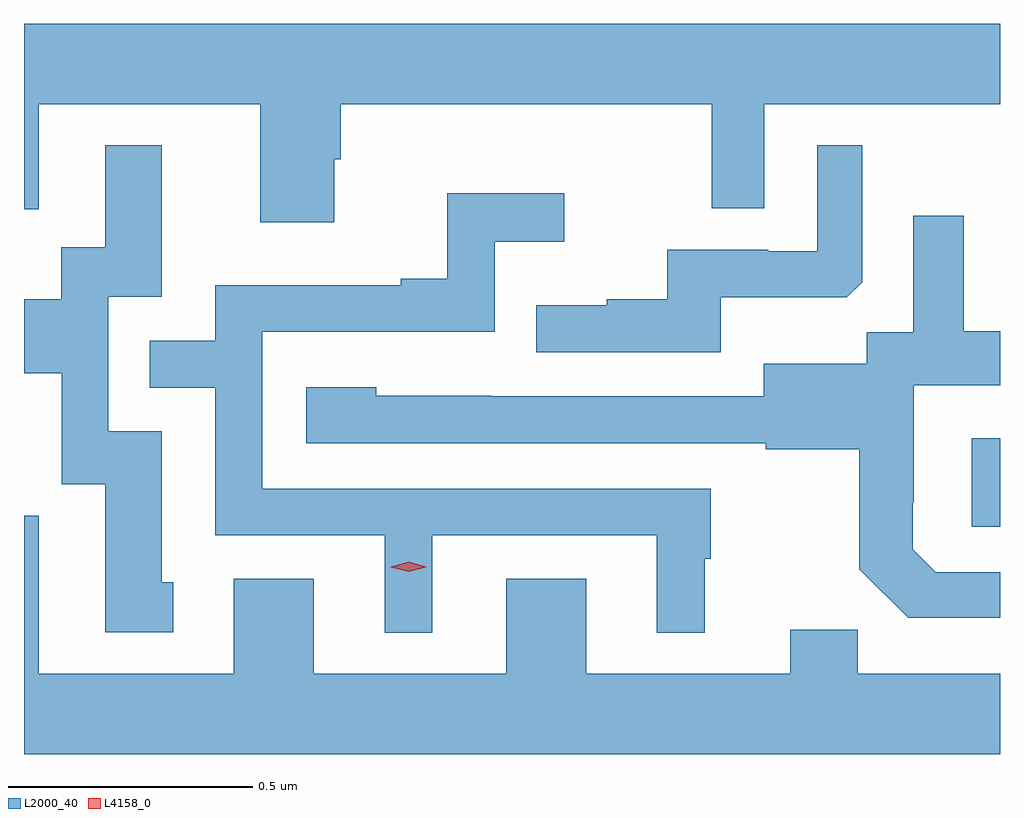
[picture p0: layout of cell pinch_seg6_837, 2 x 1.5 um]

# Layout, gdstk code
import gdstk
lib = gdstk.Library(unit=1e-6, precision=1e-09)
def R(c, l, rs):  # rectangles x0, y0, x1, y1
    for r in rs: c.add(gdstk.rectangle(r[:2], r[2:], *l))
def P(c, l, *ps):  # polygons
    for p in ps: c.add(gdstk.Polygon(p, *l))
L2000_40 = (2000, 40)
L4158_0 = (4158, 0)

pinch_seg6_837 = lib.new_cell('pinch_seg6_837')
R(pinch_seg6_837, L2000_40, [(208.829,975.774,208.887,975.955)])
P(pinch_seg6_837, L2000_40, [(207.523,976.527),(207.536,976.527),(207.536,976.64),(208.296,976.64),(208.296,976.426),(208.404,976.426),(208.404,976.64),(208.887,976.64),(208.887,976.804),(206.887,976.804),(206.887,976.424),(206.917,976.424),(206.917,976.64),(207.371,976.64),(207.371,976.398),(207.523,976.398)],
  [(208.315,976.244),(208.573,976.244),(208.605,976.275),(208.605,976.555),(208.512,976.555),(208.512,976.338),(208.412,976.338),(208.412,976.341),(208.205,976.341),(208.205,976.24),(208.081,976.24),(208.081,976.228),(207.937,976.228),(207.937,976.131),(208.315,976.131)],
  [(207.193,975.66),(207.169,975.66),(207.169,975.969),(207.06,975.969),(207.06,976.245),(207.169,976.245),(207.169,976.555),(207.053,976.555),(207.053,976.346),(206.963,976.346),(206.963,976.24),(206.887,976.24),(206.887,976.088),(206.964,976.088),(206.964,975.861),(207.053,975.861),(207.053,975.558),(207.193,975.558)],
  [(207.724,975.756),(208.184,975.756),(208.184,975.557),(208.282,975.557),(208.282,975.708),(208.294,975.708),(208.294,975.852),(207.375,975.852),(207.375,976.173),(207.852,976.173),(207.852,976.358),(207.994,976.358),(207.994,976.457),(207.754,976.457),(207.754,976.282),(207.659,976.282),(207.659,976.269),(207.279,976.269),(207.279,976.155),(207.145,976.155),(207.145,976.059),(207.279,976.059),(207.279,975.756),(207.626,975.756),(207.626,975.557),(207.724,975.557)],
  [(208.887,975.681),(208.755,975.681),(208.708,975.728),(208.708,975.823),(208.71,975.823),(208.71,976.064),(208.887,976.064),(208.887,976.174),(208.813,976.174),(208.813,976.411),(208.709,976.411),(208.709,976.172),(208.614,976.172),(208.614,976.108),(208.403,976.108),(208.403,976.041),(207.845,976.041),(207.845,976.042),(207.609,976.042),(207.609,976.06),(207.465,976.06),(207.465,975.945),(208.407,975.945),(208.407,975.933),(208.599,975.933),(208.599,975.687),(208.699,975.587),(208.887,975.587)],
  [(208.887,975.472),(208.595,975.472),(208.595,975.563),(208.457,975.563),(208.457,975.472),(208.039,975.472),(208.039,975.667),(207.875,975.667),(207.875,975.472),(207.481,975.472),(207.481,975.667),(207.317,975.667),(207.317,975.472),(206.917,975.472),(206.917,975.796),(206.887,975.796),(206.887,975.308),(208.887,975.308)])
P(pinch_seg6_837, L4158_0, [(207.675,975.682),(207.639,975.691),(207.639,975.692),(207.639,975.692),(207.675,975.702),(207.71,975.692),(207.711,975.692),(207.71,975.691)])

lib.write_gds('pinch_seg6_837.gds')
